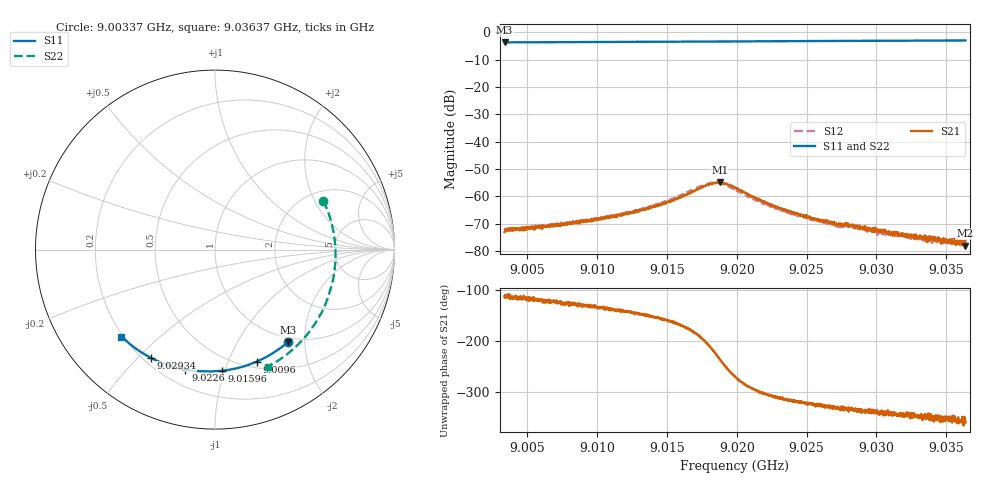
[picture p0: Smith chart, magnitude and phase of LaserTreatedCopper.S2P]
!Agilent Technologies,E5071C,MY46214390,A.10.06
!Date: Mon Mar 04 15:21:06 2019
!Data & Calibration Information:
!Freq	S11:SOLT2(ON)	S21:SOLT2(ON)	S12:SOLT2(ON)	S22:SOLT2(ON)
!PortZ  Port1:50+j0  Port2:50+j0
!Above PortZ is port z conversion or system Z0 setting when saving the data.
!When reading, reference impedance value at option line is always used.
# Hz S dB R 50
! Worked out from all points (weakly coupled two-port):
!   1601 points, 9.00337 GHz to 9.03637 GHz, reference 50 ohm
!   highest |S21| = -54.93 dB at 9.0188 GHz (marker M1); lowest = -78.0 dB at 9.03633 GHz (marker M2)
!   lowest |S11| = -3.7 dB at 9.00337 GHz (marker M3), VSWR 4.82, Z = 46 - j83.3 ohm
!   |S11| at or under -10 dB: nowhere
!   |S22| runs from -3.6 to -2.9 dB; largest |S21 - S12| = 0.00029
!   S11 on the Smith chart (normalised r, x): 9.00337 GHz: 0.92, -1.67; 9.0096 GHz: 0.57, -1.28; 9.01596 GHz: 0.39, -0.98; 9.0226 GHz: 0.29, -0.74; 9.02934 GHz: 0.23, -0.55; 9.03637 GHz: 0.19, -0.38
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9.003374e9  -3.66 -51.8  -73.08 -112.4  -72.27 -110.1  -3.58 24.2
9.004426e9  -3.64 -54.8  -71.99 -116.9  -72.15 -116.1  -3.57 21.1
9.008881e9  -3.55 -67.5  -69.13 -129.6  -69.19 -133.5  -3.51 7.7
9.009603e9  -3.53 -69.5  -68.65 -130.7  -68.51 -134.5  -3.50 5.6
9.012738e9  -3.46 -78.1  -65.54 -145.2  -65.35 -146.0  -3.44 -3.5
9.014388e9  -3.43 -82.6  -63.56 -153.8  -62.96 -154.6  -3.41 -8.2
9.015956e9  -3.39 -86.8  -60.31 -167.7  -59.72 -171.4  -3.38 -12.7
9.017791e9  -3.37 -91.7  -55.97 158.4  -55.49 150.9  -3.35 -17.8
9.018802e9  -3.35 -94.2  -54.93 124.5  -55.17 116.2  -3.33 -20.5
9.019874e9  -3.32 -96.9  -56.91 90.8  -57.48 84.7  -3.30 -23.4
9.022597e9  -3.24 -103.9  -63.57 52.4  -63.88 51.0  -3.23 -30.8
9.025381e9  -3.17 -110.9  -68.11 38.1  -68.22 35.9  -3.16 -38.2
9.027299e9  -3.13 -115.6  -69.96 27.9  -71.05 29.2  -3.12 -43.2
9.027898e9  -3.12 -117.1  -70.32 26.7  -70.36 24.4  -3.10 -44.7
9.029341e9  -3.09 -120.6  -72.39 21.8  -71.72 25.7  -3.06 -48.4
9.030888e9  -3.06 -124.3  -73.15 14.5  -73.06 16.2  -3.03 -52.3
9.033528e9  -3.01 -130.5  -75.25 7.1  -75.62 9.5  -2.97 -58.9
9.03425e9  -2.99 -132.2  -76.21 6.0  -75.17 7.4  -2.96 -60.7
9.034786e9  -2.98 -133.4  -75.49 6.6  -76.60 7.3  -2.95 -62.0
9.035158e9  -2.98 -134.3  -76.81 4.9  -76.62 6.1  -2.94 -62.9
9.036333e9  -2.96 -137.0  -78.03 1.1  -78.25 7.0  -2.91 -65.7
9.036374e9  -2.96 -137.1  -77.68 0.1  -77.16 0.4  -2.91 -65.8
